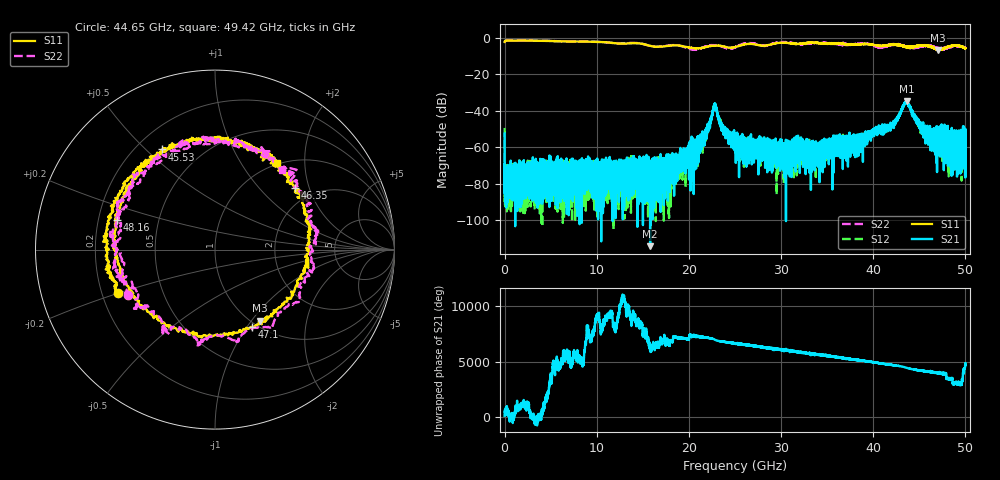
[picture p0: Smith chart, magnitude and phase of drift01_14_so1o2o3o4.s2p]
!Created with skrf (http://scikit-rf.org).
# Hz S RI R 50.0
!freq ReS11 ImS11 ReS21 ImS21 ReS12 ImS12 ReS22 ImS22
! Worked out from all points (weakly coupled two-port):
!   10001 points, 300 kHz to 50 GHz, reference 50 ohm
!   highest |S21| = -34.72 dB at 43.61 GHz (marker M1); lowest = -114.3 dB at 15.79 GHz (marker M2)
!   lowest |S11| = -6.6 dB at 47.05 GHz (marker M3), VSWR 2.76, Z = 54.4 - j55.2 ohm
!   |S11| at or under -10 dB: nowhere
!   |S22| runs from -6.5 to -1.4 dB; largest |S21 - S12| = 0.0046
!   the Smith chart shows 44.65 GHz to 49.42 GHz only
!   S11 on the Smith chart (normalised r, x): 44.65 GHz: 0.27, -0.20; 45.53 GHz: 0.30, +0.56; 46.35 GHz: 1.62, +1.62; 47.1 GHz: 0.94, -1.06; 48.16 GHz: 0.28, +0.14; 49.42 GHz: 0.97, +1.45
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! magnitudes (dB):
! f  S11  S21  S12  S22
! 300 kHz  -2.1  -52.5  -49.4  -2.1
! 255.3 MHz  -1.4  -76.9  -73.5  -1.4
! 535.3 MHz  -1.5  -72.7  -92.9  -1.4
! 8.335 GHz  -1.9  -70.6  -78.2  -1.8
! 15.79 GHz  -4.3  -114.3  -72.6  -4.3
! 16.67 GHz  -4.9  -71.9  -69.1  -4.8
! 20.67 GHz  -5.6  -64.0  -61.8  -6.3
! 22.8 GHz  -4.3  -36.7  -36.4  -4.0
! 25 GHz  -5.0  -54.2  -57.0  -5.1
! 29.67 GHz  -2.7  -61.9  -64.8  -2.5
! 33.34 GHz  -2.6  -61.7  -63.3  -2.6
! 41.67 GHz  -3.9  -48.2  -49.6  -4.3
! 43.61 GHz  -4.9  -34.7  -35.0  -5.0
! 44.65 GHz  -4.5  -44.2  -44.6  -5.3
! 45.53 GHz  -4.0  -49.5  -50.6  -4.4
! 46.35 GHz  -5.0  -57.2  -55.1  -4.8
! 47.05 GHz  -6.6  -52.6  -55.8  -5.6
! 47.1 GHz  -6.4  -52.3  -54.8  -5.5
! 48.16 GHz  -4.9  -52.9  -51.4  -5.2
! 49.42 GHz  -4.5  -54.6  -64.4  -4.7
! 49.75 GHz  -5.1  -48.4  -54.0  -5.1
! 50 GHz  -5.7  -68.7  -75.2  -5.4
